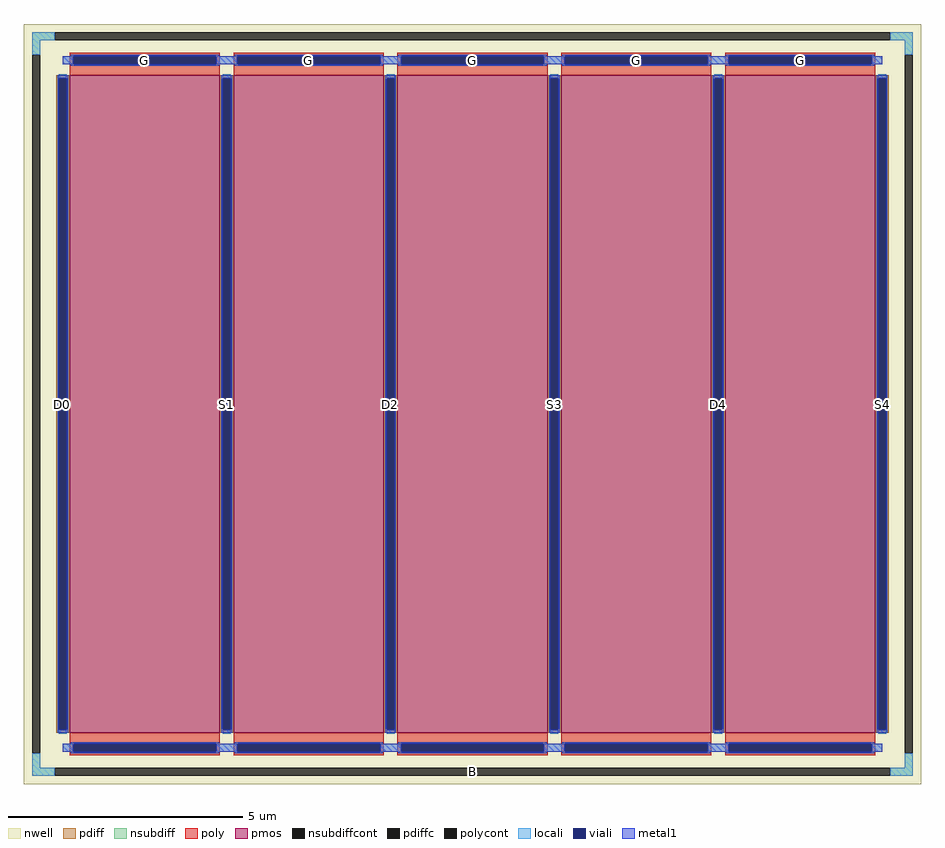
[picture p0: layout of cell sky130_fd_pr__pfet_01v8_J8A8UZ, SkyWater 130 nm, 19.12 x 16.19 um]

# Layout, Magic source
magic
tech sky130A
magscale 1 2
<< nwell >>
rect -1912 -1619 1912 1619
<< pmos >>
rect -1716 -1400 -1076 1400
rect -1018 -1400 -378 1400
rect -320 -1400 320 1400
rect 378 -1400 1018 1400
rect 1076 -1400 1716 1400
<< pdiff >>
rect -1774 1388 -1716 1400
rect -1774 -1388 -1762 1388
rect -1728 -1388 -1716 1388
rect -1774 -1400 -1716 -1388
rect -1076 1388 -1018 1400
rect -1076 -1388 -1064 1388
rect -1030 -1388 -1018 1388
rect -1076 -1400 -1018 -1388
rect -378 1388 -320 1400
rect -378 -1388 -366 1388
rect -332 -1388 -320 1388
rect -378 -1400 -320 -1388
rect 320 1388 378 1400
rect 320 -1388 332 1388
rect 366 -1388 378 1388
rect 320 -1400 378 -1388
rect 1018 1388 1076 1400
rect 1018 -1388 1030 1388
rect 1064 -1388 1076 1388
rect 1018 -1400 1076 -1388
rect 1716 1388 1774 1400
rect 1716 -1388 1728 1388
rect 1762 -1388 1774 1388
rect 1716 -1400 1774 -1388
<< pdiffc >>
rect -1762 -1388 -1728 1388
rect -1064 -1388 -1030 1388
rect -366 -1388 -332 1388
rect 332 -1388 366 1388
rect 1030 -1388 1064 1388
rect 1728 -1388 1762 1388
<< nsubdiff >>
rect -1876 1549 -1780 1583
rect 1780 1549 1876 1583
rect -1876 1487 -1842 1549
rect 1842 1487 1876 1549
rect -1876 -1549 -1842 -1487
rect 1842 -1549 1876 -1487
rect -1876 -1583 -1780 -1549
rect 1780 -1583 1876 -1549
<< nsubdiffcont >>
rect -1780 1549 1780 1583
rect -1876 -1487 -1842 1487
rect 1842 -1487 1876 1487
rect -1780 -1583 1780 -1549
<< poly >>
rect -1716 1481 -1076 1497
rect -1716 1447 -1700 1481
rect -1092 1447 -1076 1481
rect -1716 1400 -1076 1447
rect -1018 1481 -378 1497
rect -1018 1447 -1002 1481
rect -394 1447 -378 1481
rect -1018 1400 -378 1447
rect -320 1481 320 1497
rect -320 1447 -304 1481
rect 304 1447 320 1481
rect -320 1400 320 1447
rect 378 1481 1018 1497
rect 378 1447 394 1481
rect 1002 1447 1018 1481
rect 378 1400 1018 1447
rect 1076 1481 1716 1497
rect 1076 1447 1092 1481
rect 1700 1447 1716 1481
rect 1076 1400 1716 1447
rect -1716 -1447 -1076 -1400
rect -1716 -1481 -1700 -1447
rect -1092 -1481 -1076 -1447
rect -1716 -1497 -1076 -1481
rect -1018 -1447 -378 -1400
rect -1018 -1481 -1002 -1447
rect -394 -1481 -378 -1447
rect -1018 -1497 -378 -1481
rect -320 -1447 320 -1400
rect -320 -1481 -304 -1447
rect 304 -1481 320 -1447
rect -320 -1497 320 -1481
rect 378 -1447 1018 -1400
rect 378 -1481 394 -1447
rect 1002 -1481 1018 -1447
rect 378 -1497 1018 -1481
rect 1076 -1447 1716 -1400
rect 1076 -1481 1092 -1447
rect 1700 -1481 1716 -1447
rect 1076 -1497 1716 -1481
<< polycont >>
rect -1700 1447 -1092 1481
rect -1002 1447 -394 1481
rect -304 1447 304 1481
rect 394 1447 1002 1481
rect 1092 1447 1700 1481
rect -1700 -1481 -1092 -1447
rect -1002 -1481 -394 -1447
rect -304 -1481 304 -1447
rect 394 -1481 1002 -1447
rect 1092 -1481 1700 -1447
<< locali >>
rect -1876 1549 -1780 1583
rect 1780 1549 1876 1583
rect -1876 1487 -1842 1549
rect 1842 1487 1876 1549
rect -1745 1447 -1700 1481
rect -1092 1447 -1002 1481
rect -394 1447 -304 1481
rect 304 1447 394 1481
rect 1002 1447 1092 1481
rect 1700 1447 1745 1481
rect -1762 1388 -1728 1404
rect -1762 -1404 -1728 -1388
rect -1064 1388 -1030 1404
rect -1064 -1404 -1030 -1388
rect -366 1388 -332 1404
rect -366 -1404 -332 -1388
rect 332 1388 366 1404
rect 332 -1404 366 -1388
rect 1030 1388 1064 1404
rect 1030 -1404 1064 -1388
rect 1728 1388 1762 1404
rect 1728 -1404 1762 -1388
rect -1745 -1481 -1700 -1447
rect -1092 -1481 -1002 -1447
rect -394 -1481 -304 -1447
rect 304 -1481 394 -1447
rect 1002 -1481 1092 -1447
rect 1700 -1481 1745 -1447
rect -1876 -1549 -1842 -1487
rect 1842 -1549 1876 -1487
rect -1876 -1583 -1780 -1549
rect 1780 -1583 1876 -1549
<< viali >>
rect -1700 1447 -1092 1481
rect -1002 1447 -394 1481
rect -304 1447 304 1481
rect 394 1447 1002 1481
rect 1092 1447 1700 1481
rect -1762 -1388 -1728 1388
rect -1064 -1388 -1030 1388
rect -366 -1388 -332 1388
rect 332 -1388 366 1388
rect 1030 -1388 1064 1388
rect 1728 -1388 1762 1388
rect -1700 -1481 -1092 -1447
rect -1002 -1481 -394 -1447
rect -304 -1481 304 -1447
rect 394 -1481 1002 -1447
rect 1092 -1481 1700 -1447
<< metal1 >>
rect -1712 1481 -1080 1487
rect -1014 1481 -382 1487
rect -316 1481 316 1487
rect 382 1481 1014 1487
rect 1080 1481 1712 1487
rect -1745 1447 -1700 1481
rect -1092 1447 -1002 1481
rect -394 1447 -304 1481
rect 304 1447 394 1481
rect 1002 1447 1092 1481
rect 1700 1447 1745 1481
rect -1712 1441 -1080 1447
rect -1014 1441 -382 1447
rect -316 1441 316 1447
rect 382 1441 1014 1447
rect 1080 1441 1712 1447
rect -1768 1388 -1722 1400
rect -1768 -1388 -1762 1388
rect -1728 -1388 -1722 1388
rect -1768 -1400 -1722 -1388
rect -1070 1388 -1024 1400
rect -1070 -1388 -1064 1388
rect -1030 -1388 -1024 1388
rect -1070 -1400 -1024 -1388
rect -372 1388 -326 1400
rect -372 -1388 -366 1388
rect -332 -1388 -326 1388
rect -372 -1400 -326 -1388
rect 326 1388 372 1400
rect 326 -1388 332 1388
rect 366 -1388 372 1388
rect 326 -1400 372 -1388
rect 1024 1388 1070 1400
rect 1024 -1388 1030 1388
rect 1064 -1388 1070 1388
rect 1024 -1400 1070 -1388
rect 1722 1388 1768 1400
rect 1722 -1388 1728 1388
rect 1762 -1388 1768 1388
rect 1722 -1400 1768 -1388
rect -1712 -1447 -1080 -1441
rect -1014 -1447 -382 -1441
rect -316 -1447 316 -1441
rect 382 -1447 1014 -1441
rect 1080 -1447 1712 -1441
rect -1745 -1481 -1700 -1447
rect -1092 -1481 -1002 -1447
rect -394 -1481 -304 -1447
rect 304 -1481 394 -1447
rect 1002 -1481 1092 -1447
rect 1700 -1481 1745 -1447
rect -1712 -1487 -1080 -1481
rect -1014 -1487 -382 -1481
rect -316 -1487 316 -1481
rect 382 -1487 1014 -1481
rect 1080 -1487 1712 -1481
<< labels >>
rlabel nsubdiffcont 0 -1566 0 -1566 0 B
port 1 nsew
rlabel pdiffc -1745 0 -1745 0 0 D0
port 2 nsew
rlabel polycont -1396 1464 -1396 1464 0 G
port 3 nsew
rlabel pdiffc -1047 0 -1047 0 0 S1
port 4 nsew
rlabel polycont -698 1464 -698 1464 0 G
port 3 nsew
rlabel pdiffc -349 0 -349 0 0 D2
port 5 nsew
rlabel polycont 0 1464 0 1464 0 G
port 3 nsew
rlabel pdiffc 349 0 349 0 0 S3
port 6 nsew
rlabel polycont 698 1464 698 1464 0 G
port 3 nsew
rlabel pdiffc 1047 0 1047 0 0 D4
port 7 nsew
rlabel pdiffc 1745 0 1745 0 0 S4
port 8 nsew
rlabel polycont 1396 1464 1396 1464 0 G
port 3 nsew
<< properties >>
string FIXED_BBOX -1859 -1566 1859 1566
string gencell sky130_fd_pr__pfet_01v8
string library sky130
string parameters w 14 l 3.2 m 1 nf 5 diffcov 100 polycov 100 guard 1 glc 1 grc 1 gtc 1 gbc 1 tbcov 100 rlcov 100 topc 1 botc 1 poverlap 0 doverlap 1 lmin 0.15 wmin 0.42 class mosfet compatible {sky130_fd_pr__pfet_01v8  sky130_fd_pr__pfet_01v8_lvt sky130_fd_pr__pfet_01v8_hvt  sky130_fd_pr__pfet_g5v0d10v5} full_metal 1 conn_gates 1 viasrc 100 viadrn 100 viagate 100 viagb 0 viagr 0 viagl 0 viagt 0 doports 1
<< end >>
